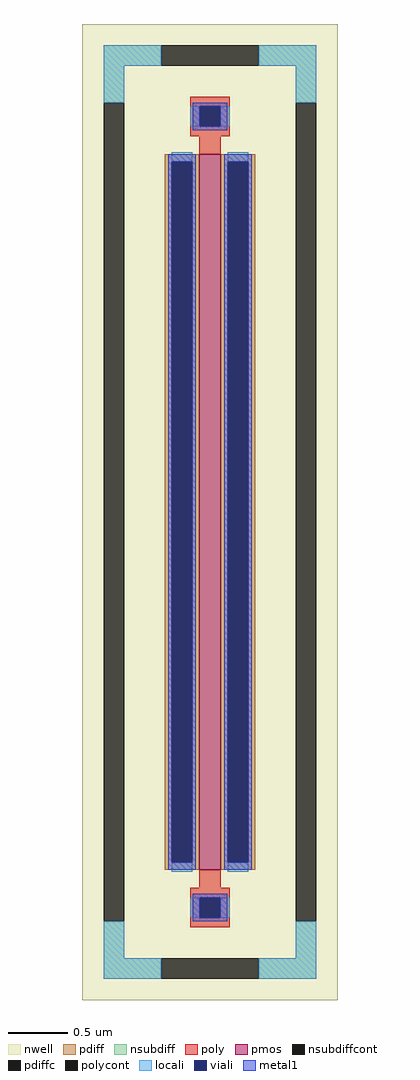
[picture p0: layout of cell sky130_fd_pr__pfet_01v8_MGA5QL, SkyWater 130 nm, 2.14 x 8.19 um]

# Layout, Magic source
magic
tech sky130A
magscale 1 2
<< nwell >>
rect -214 -819 214 819
<< pmos >>
rect -18 -600 18 600
<< pdiff >>
rect -76 588 -18 600
rect -76 -588 -64 588
rect -30 -588 -18 588
rect -76 -600 -18 -588
rect 18 588 76 600
rect 18 -588 30 588
rect 64 -588 76 588
rect 18 -600 76 -588
<< pdiffc >>
rect -64 -588 -30 588
rect 30 -588 64 588
<< nsubdiff >>
rect -178 749 -82 783
rect 82 749 178 783
rect -178 687 -144 749
rect 144 687 178 749
rect -178 -749 -144 -687
rect 144 -749 178 -687
rect -178 -783 -82 -749
rect 82 -783 178 -749
<< nsubdiffcont >>
rect -82 749 82 783
rect -178 -687 -144 687
rect 144 -687 178 687
rect -82 -783 82 -749
<< poly >>
rect -33 681 33 697
rect -33 647 -17 681
rect 17 647 33 681
rect -33 631 33 647
rect -18 600 18 631
rect -18 -631 18 -600
rect -33 -647 33 -631
rect -33 -681 -17 -647
rect 17 -681 33 -647
rect -33 -697 33 -681
<< polycont >>
rect -17 647 17 681
rect -17 -681 17 -647
<< locali >>
rect -178 749 -82 783
rect 82 749 178 783
rect -178 687 -144 749
rect 144 687 178 749
rect -33 647 -17 681
rect 17 647 33 681
rect -64 588 -30 604
rect -64 -604 -30 -588
rect 30 588 64 604
rect 30 -604 64 -588
rect -33 -681 -17 -647
rect 17 -681 33 -647
rect -178 -749 -144 -687
rect 144 -749 178 -687
rect -178 -783 -82 -749
rect 82 -783 178 -749
<< viali >>
rect -17 647 17 681
rect -64 -588 -30 588
rect 30 -588 64 588
rect -17 -681 17 -647
<< metal1 >>
rect -29 681 29 687
rect -29 647 -17 681
rect 17 647 29 681
rect -29 641 29 647
rect -70 588 -24 600
rect -70 -588 -64 588
rect -30 -588 -24 588
rect -70 -600 -24 -588
rect 24 588 70 600
rect 24 -588 30 588
rect 64 -588 70 588
rect 24 -600 70 -588
rect -29 -647 29 -641
rect -29 -681 -17 -647
rect 17 -681 29 -647
rect -29 -687 29 -681
<< properties >>
string FIXED_BBOX -161 -766 161 766
string gencell sky130_fd_pr__pfet_01v8
string library sky130
string parameters w 6.0 l 0.18 m 1 nf 1 diffcov 100 polycov 100 guard 1 glc 1 grc 1 gtc 1 gbc 1 tbcov 100 rlcov 100 topc 1 botc 1 poverlap 0 doverlap 1 lmin 0.15 wmin 0.42 compatible {sky130_fd_pr__pfet_01v8  sky130_fd_pr__pfet_01v8_lvt sky130_fd_pr__pfet_01v8_hvt  sky130_fd_pr__pfet_g5v0d10v5} full_metal 1 viasrc 100 viadrn 100 viagate 100 viagb 0 viagr 0 viagl 0 viagt 0
<< end >>
